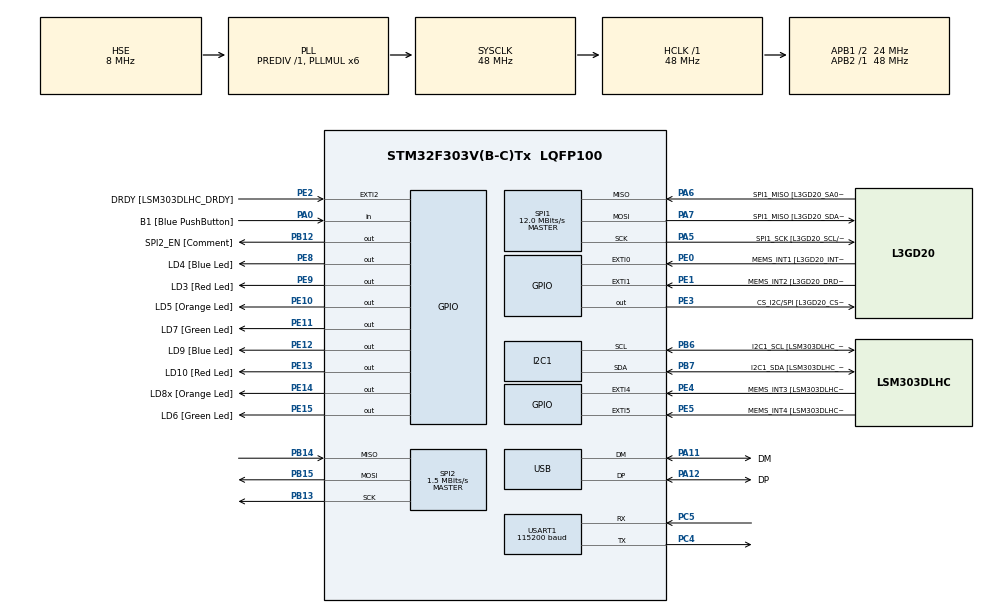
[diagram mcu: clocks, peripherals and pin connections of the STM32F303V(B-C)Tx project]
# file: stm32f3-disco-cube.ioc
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Dma.Request0=SPI2_TX
Dma.SPI2_TX.0.Direction=DMA_MEMORY_TO_PERIPH
Dma.SPI2_TX.0.Instance=DMA1_Channel5
Dma.SPI2_TX.0.MemDataAlignment=DMA_MDATAALIGN_BYTE
Dma.SPI2_TX.0.MemInc=DMA_MINC_ENABLE
Dma.SPI2_TX.0.Mode=DMA_NORMAL
Dma.SPI2_TX.0.PeriphDataAlignment=DMA_PDATAALIGN_BYTE
Dma.SPI2_TX.0.PeriphInc=DMA_PINC_DISABLE
Dma.SPI2_TX.0.Priority=DMA_PRIORITY_LOW
I2C1.Timing=0x2000090E
I2C1.Timing-I2C=0x2000090E
Mcu.Family=STM32F3
Mcu.Name=STM32F303V(B-C)Tx
Mcu.Package=LQFP100
NVIC.DMA1_Channel5_IRQn=true\:0\:0\:false\:false\:true\:false\:true
NVIC.PriorityGroup=NVIC_PRIORITYGROUP_0
PA0.GPIO_Label=B1 [Blue PushButton]
PA0.Signal=GPIO_Input
PA11.GPIO_Label=DM
PA11.Mode=Device
PA11.Signal=USB_DM
PA12.GPIO_Label=DP
PA12.Mode=Device
PA12.Signal=USB_DP
PA13.GPIO_Label=SWDIO
PA13.Mode=Serial_Wire
PA13.Signal=SYS_JTMS-SWDIO
PA14.GPIO_Label=SWCLK
PA14.Mode=Serial_Wire
PA14.Signal=SYS_JTCK-SWCLK
PA5.GPIO_Label=SPI1_SCK [L3GD20_SCL/SPC]
PA5.Mode=Full_Duplex_Master
PA5.Signal=SPI1_SCK
PA6.GPIO_Label=SPI1_MISO [L3GD20_SA0/SDO]
PA6.Mode=Full_Duplex_Master
PA6.Signal=SPI1_MISO
PA7.GPIO_Label=SPI1_MISO [L3GD20_SDA/SDI/SDO]
PA7.Mode=Full_Duplex_Master
PA7.Signal=SPI1_MOSI
PB12.GPIO_Label=SPI2_EN [Comment]
PB12.Signal=GPIO_Output
PB13.Mode=Full_Duplex_Master
PB13.Signal=SPI2_SCK
PB14.Mode=Full_Duplex_Master
PB14.Signal=SPI2_MISO
PB15.Mode=Full_Duplex_Master
PB15.Signal=SPI2_MOSI
PB3.GPIO_Label=SWO
PB3.Signal=SYS_JTDO-TRACESWO
PB6.GPIO_Label=I2C1_SCL [LSM303DLHC_SCL]
PB6.GPIO_Pu=GPIO_PULLUP
PB6.Mode=I2C
PB6.Signal=I2C1_SCL
PB7.GPIO_Label=I2C1_SDA [LSM303DLHC_SDA]
PB7.GPIO_Pu=GPIO_PULLUP
PB7.Mode=I2C
PB7.Signal=I2C1_SDA
PC14-OSC32_IN.GPIO_Label=OSC32_IN
PC14-OSC32_IN.Signal=RCC_OSC32_IN
PC15-OSC32_OUT.GPIO_Label=OSC32_OUT
PC15-OSC32_OUT.Signal=RCC_OSC32_OUT
PC4.Mode=Asynchronous
PC4.Signal=USART1_TX
PC5.Mode=Asynchronous
PC5.Signal=USART1_RX
PE0.GPIO_Label=MEMS_INT1 [L3GD20_INT1]
PE0.GPIO_ModeDefaultEXTI=GPIO_MODE_EVT_RISING
PE0.Signal=GPXTI0
PE1.GPIO_Label=MEMS_INT2 [L3GD20_DRDY/INT2]
PE1.GPIO_ModeDefaultEXTI=GPIO_MODE_EVT_RISING
PE1.Signal=GPXTI1
PE10.GPIO_Label=LD5 [Orange Led]
PE10.Signal=GPIO_Output
PE11.GPIO_Label=LD7 [Green Led]
PE11.Signal=GPIO_Output
PE12.GPIO_Label=LD9 [Blue Led]
PE12.Signal=GPIO_Output
PE13.GPIO_Label=LD10 [Red Led]
PE13.Signal=GPIO_Output
PE14.GPIO_Label=LD8x [Orange Led]
PE14.Signal=GPIO_Output
PE15.GPIO_Label=LD6 [Green Led]
PE15.Signal=GPIO_Output
PE2.GPIO_Label=DRDY [LSM303DLHC_DRDY]
PE2.GPIO_ModeDefaultEXTI=GPIO_MODE_EVT_RISING
PE2.Signal=GPXTI2
PE3.GPIO_Label=CS_I2C/SPI [L3GD20_CS_I2C/SPI]
PE3.Signal=GPIO_Output
PE4.GPIO_Label=MEMS_INT3 [LSM303DLHC_INT1]
PE4.GPIO_ModeDefaultEXTI=GPIO_MODE_EVT_RISING
PE4.Signal=GPXTI4
PE5.GPIO_Label=MEMS_INT4 [LSM303DLHC_INT2]
PE5.GPIO_ModeDefaultEXTI=GPIO_MODE_EVT_RISING
PE5.Signal=GPXTI5
PE8.GPIO_Label=LD4 [Blue Led]
PE8.Signal=GPIO_Output
PE9.GPIO_Label=LD3 [Red Led]
PE9.Signal=GPIO_Output
PF0-OSC_IN.GPIO_Label=OSC_IN
PF0-OSC_IN.Mode=HSE-External-Clock-Source
PF0-OSC_IN.Signal=RCC_OSC_IN
PF1-OSC_OUT.GPIO_Label=OSC_OUT
PF1-OSC_OUT.Signal=RCC_OSC_OUT
ProjectManager.HeapSize=0x200
ProjectManager.StackSize=0x400
ProjectManager.TargetToolchain=Makefile
RCC.AHBFreq_Value=48000000
RCC.APB1CLKDivider=RCC_HCLK_DIV2
RCC.APB1Freq_Value=24000000
RCC.APB1TimFreq_Value=48000000
RCC.APB2Freq_Value=48000000
RCC.APB2TimFreq_Value=48000000
RCC.CortexFreq_Value=48000000
RCC.HCLKFreq_Value=48000000
RCC.HSE_VALUE=8000000
RCC.HSI_VALUE=8000000
RCC.LSE_VALUE=32768
RCC.PLLMUL=RCC_PLL_MUL6
RCC.SYSCLKFreq_VALUE=48000000
RCC.SYSCLKSourceVirtual=RCC_SYSCLKSOURCE_PLLCLK
RCC.USBFreq_Value=48000000
SPI1.BaudRatePrescaler=SPI_BAUDRATEPRESCALER_4
SPI1.BaudRatePrescaler-Full_Duplex_Master=SPI_BAUDRATEPRESCALER_2
SPI1.CalculateBaudRate=12.0 MBits/s
SPI1.CalculateBaudRate-Full_Duplex_Master=24.0 MBits/s
SPI1.Direction=SPI_DIRECTION_2LINES
SPI1.Mode=SPI_MODE_MASTER
SPI1.Mode-Full_Duplex_Master=SPI_MODE_MASTER
SPI1.VirtualType=VM_MASTER
SPI2.BaudRatePrescaler=SPI_BAUDRATEPRESCALER_16
SPI2.CalculateBaudRate=1.5 MBits/s
SPI2.DataSize=SPI_DATASIZE_8BIT
SPI2.Direction=SPI_DIRECTION_2LINES
SPI2.Mode=SPI_MODE_MASTER
SPI2.NSSPMode=SPI_NSS_PULSE_DISABLE
SPI2.VirtualType=VM_MASTER
USART1.BaudRate=115200
USART1.VirtualMode-Asynchronous=VM_ASYNC
board=STM32F3DISCOVERY

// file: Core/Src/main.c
/* USER CODE BEGIN Header */
/**
 ******************************************************************************
 * @file           : main.c
 * @brief          : Main program body
 ******************************************************************************
 * @attention
 *
 * Copyright (c) 2022 STMicroelectronics.
 * All rights reserved.
 *
 * This software is licensed under terms that can be found in the LICENSE file
 * in the root directory of this software component.
 * If no LICENSE file comes with this software, it is provided AS-IS.
 *
 ******************************************************************************
 */
/* USER CODE END Header */
#include "main.h"
#include "dma.h"
#include "i2c.h"
#include "spi.h"
#include "usart.h"
#include "gpio.h"

/* USER CODE BEGIN Includes */
#include "stdio.h"
#include "stdint.h"
#include "usb.h"

/* USER CODE END Includes */

void SystemClock_Config(void);

int main(void)
{

  /* MCU Configuration--------------------------------------------------------*/

  /* Reset of all peripherals, Initializes the Flash interface and the Systick. */
  HAL_Init();

  /* Configure the system clock */
  SystemClock_Config();

  /* Initialize all configured peripherals */
  MX_GPIO_Init();
  MX_I2C1_Init();
  MX_SPI1_Init();
  MX_USART1_UART_Init();
  MX_USB_PCD_Init();
  MX_DMA_Init();
  MX_SPI2_Init();

  /* Infinite loop */
  /* USER CODE BEGIN WHILE */

  // Set up SPI2 EN Pin, set up spi2 buffer
  HAL_GPIO_WritePin(SPI2_EN_GPIO_Port, SPI2_EN_Pin, GPIO_PIN_SET);
  uint8_t spi_buf[] = "Testing 123...";

  // I2C Example
  const uint8_t LSM303AGR_ACC_ADDR =  0x19;
  const uint8_t LSM303DLHC_ACC_WHOAMI_ADDR = 0x0F;
  uint8_t id = 0x00;
  const uint8_t LSM303AGR_ACC_WHOAMI = 0x33;
  HAL_I2C_Mem_Read(&hi2c1, LSM303AGR_ACC_ADDR<<1, LSM303DLHC_ACC_WHOAMI_ADDR, 1, &id, 1, HAL_MAX_DELAY);
  if(id == LSM303AGR_ACC_WHOAMI) {
    printf("Accelerometer interface established, Who_am_i: 0x%x\n", id);
  } else {
    printf("Error interfacing with accelerometer\n");
  }

  HAL_GPIO_WritePin(SPI2_EN_GPIO_Port, SPI2_EN_Pin, GPIO_PIN_RESET);
  HAL_SPI_Transmit_DMA(&hspi2, spi_buf, sizeof(spi_buf));

  while (1)
  {
    /* USER CODE END WHILE */

  }
}

void SystemClock_Config(void)
{
  RCC_OscInitTypeDef RCC_OscInitStruct = {0};
  RCC_ClkInitTypeDef RCC_ClkInitStruct = {0};
  RCC_PeriphCLKInitTypeDef PeriphClkInit = {0};

  /** Initializes the RCC Oscillators according to the specified parameters
  * in the RCC_OscInitTypeDef structure.
  */
  RCC_OscInitStruct.OscillatorType = RCC_OSCILLATORTYPE_HSI|RCC_OSCILLATORTYPE_HSE;
  RCC_OscInitStruct.HSEState = RCC_HSE_BYPASS;
  RCC_OscInitStruct.HSEPredivValue = RCC_HSE_PREDIV_DIV1;
  RCC_OscInitStruct.HSIState = RCC_HSI_ON;
  RCC_OscInitStruct.HSICalibrationValue = RCC_HSICALIBRATION_DEFAULT;
  RCC_OscInitStruct.PLL.PLLState = RCC_PLL_ON;
  RCC_OscInitStruct.PLL.PLLSource = RCC_PLLSOURCE_HSE;
  RCC_OscInitStruct.PLL.PLLMUL = RCC_PLL_MUL6;
  if (HAL_RCC_OscConfig(&RCC_OscInitStruct) != HAL_OK)
  {
    Error_Handler();
  }
  /** Initializes the CPU, AHB and APB buses clocks
  */
  RCC_ClkInitStruct.ClockType = RCC_CLOCKTYPE_HCLK|RCC_CLOCKTYPE_SYSCLK
                              |RCC_CLOCKTYPE_PCLK1|RCC_CLOCKTYPE_PCLK2;
  RCC_ClkInitStruct.SYSCLKSource = RCC_SYSCLKSOURCE_PLLCLK;
  RCC_ClkInitStruct.AHBCLKDivider = RCC_SYSCLK_DIV1;
  RCC_ClkInitStruct.APB1CLKDivider = RCC_HCLK_DIV2;
  RCC_ClkInitStruct.APB2CLKDivider = RCC_HCLK_DIV1;

  if (HAL_RCC_ClockConfig(&RCC_ClkInitStruct, FLASH_LATENCY_1) != HAL_OK)
  {
    Error_Handler();
  }
  PeriphClkInit.PeriphClockSelection = RCC_PERIPHCLK_USB|RCC_PERIPHCLK_USART1
                              |RCC_PERIPHCLK_I2C1;
  PeriphClkInit.Usart1ClockSelection = RCC_USART1CLKSOURCE_PCLK2;
  PeriphClkInit.I2c1ClockSelection = RCC_I2C1CLKSOURCE_HSI;
  PeriphClkInit.USBClockSelection = RCC_USBCLKSOURCE_PLL;
  if (HAL_RCCEx_PeriphCLKConfig(&PeriphClkInit) != HAL_OK)
  {
    Error_Handler();
  }
}

/* USER CODE BEGIN 4 */
/**
 * @brief Send a char through Uart1.
 *
 * @note This function is required for printf debugging to work.
 *
 * @param ch Character to send.
 * @return int Character that was sent.
 */
int __io_putchar(int ch)
{
  HAL_UART_Transmit(&huart1, (uint8_t *)&ch, 1, 0x00FF);
  return ch;
}

/**
 * @brief Send a string to Uart1.
 *
 * @note This function is required for printf debuggin to work.
 *
 * @param ptr String buffer.
 * @param len Length of string buffer.
 * @return int Length of string sent.
 */
int _write(__attribute__((unused)) int file, char *ptr, int len)
{
  int DataIdx;
  for (DataIdx = 0; DataIdx < len; DataIdx++) {
    __io_putchar( *ptr++ );
  }
  return len;
}

/**
 * @brief SPI Transmit DMA Callback function.
 *
 * @param hspi pointer to a SPI_HandleTypeDef structure that contains
 *             the configuration information for SPI module.
 * @retval None
 */
void HAL_SPI_TxCpltCallback(SPI_HandleTypeDef *hspi)
{
  HAL_GPIO_WritePin(SPI2_EN_GPIO_Port, SPI2_EN_Pin, GPIO_PIN_SET);
  printf("DMA SPI2 send complete!\n");
}

/* USER CODE END 4 */

void Error_Handler(void)
{
  __disable_irq();
  while (1)
  {
  }
}
